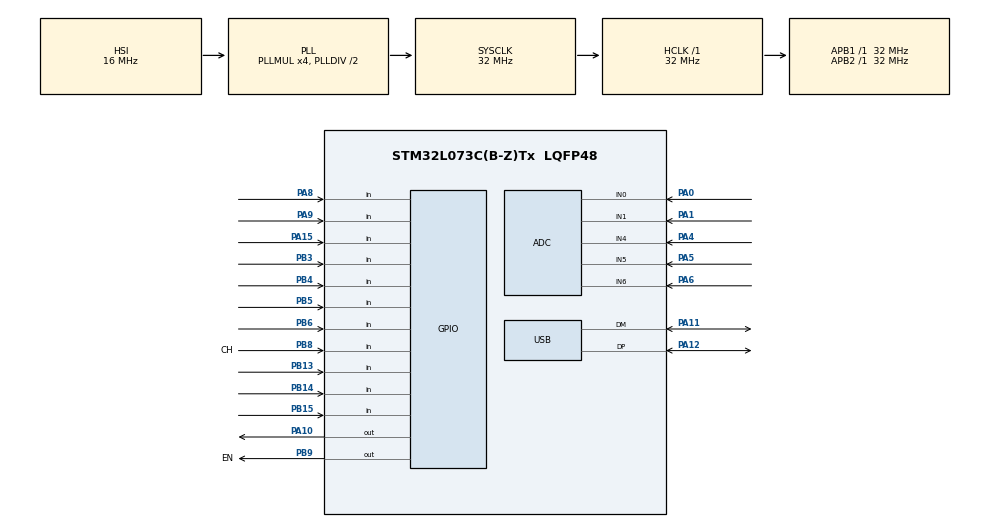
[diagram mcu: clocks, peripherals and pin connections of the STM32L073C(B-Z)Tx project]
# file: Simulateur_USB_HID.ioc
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ADC.ContinuousConvMode=ENABLE
Mcu.Family=STM32L0
Mcu.Name=STM32L073C(B-Z)Tx
Mcu.Package=LQFP48
NVIC.USB_IRQn=true\:0\:0\:false\:false\:true\:false\:true
PA0.Mode=IN0
PA0.Signal=ADC_IN0
PA1.Mode=IN1
PA1.Signal=ADC_IN1
PA10.Signal=GPIO_Output
PA11.Mode=Device
PA11.Signal=USB_DM
PA12.Mode=Device
PA12.Signal=USB_DP
PA13.Mode=Serial_Wire
PA13.Signal=SYS_SWDIO
PA14.Mode=Serial_Wire
PA14.Signal=SYS_SWCLK
PA15.GPIO_PuPd=GPIO_PULLUP
PA15.Signal=GPIO_Input
PA4.Mode=IN4
PA4.Signal=ADC_IN4
PA5.Mode=IN5
PA5.Signal=ADC_IN5
PA6.Mode=IN6
PA6.Signal=ADC_IN6
PA8.GPIO_PuPd=GPIO_PULLUP
PA8.Signal=GPIO_Input
PA9.GPIO_PuPd=GPIO_PULLUP
PA9.Signal=GPIO_Input
PB13.GPIO_PuPd=GPIO_PULLUP
PB13.Signal=GPIO_Input
PB14.GPIO_PuPd=GPIO_PULLUP
PB14.Signal=GPIO_Input
PB15.GPIO_PuPd=GPIO_PULLUP
PB15.Signal=GPIO_Input
PB3.GPIO_PuPd=GPIO_PULLUP
PB3.Signal=GPIO_Input
PB4.GPIO_PuPd=GPIO_PULLUP
PB4.Signal=GPIO_Input
PB5.GPIO_PuPd=GPIO_PULLUP
PB5.Signal=GPIO_Input
PB6.GPIO_PuPd=GPIO_PULLUP
PB6.Signal=GPIO_Input
PB8.GPIO_Label=CH
PB8.GPIO_PuPd=GPIO_PULLDOWN
PB8.Signal=GPIO_Input
PB9.GPIO_Label=EN
PB9.GPIO_PuPd=GPIO_PULLDOWN
PB9.Signal=GPIO_Output
ProjectManager.HeapSize=0x1000
ProjectManager.StackSize=0x400
ProjectManager.TargetToolchain=STM32CubeIDE
RCC.AHBFreq_Value=32000000
RCC.APB1Freq_Value=32000000
RCC.APB1TimFreq_Value=32000000
RCC.APB2Freq_Value=32000000
RCC.APB2TimFreq_Value=32000000
RCC.HCLKFreq_Value=32000000
RCC.HSE_VALUE=8000000
RCC.HSI16_VALUE=16000000
RCC.HSI48MClockSelection=RCC_USBCLKSOURCE_HSI48
RCC.HSI48_VALUE=48000000
RCC.HSI_VALUE=16000000
RCC.LSE_VALUE=32768
RCC.MSI_VALUE=2097000
RCC.PLLMUL=RCC_PLLMUL_4
RCC.SYSCLKFreq_VALUE=32000000
RCC.SYSCLKSource=RCC_SYSCLKSOURCE_PLLCLK
RCC.VCOOutputFreq_Value=64000000
USB_DEVICE.CLASS_NAME_FS=HID
USB_DEVICE.VirtualMode=Hid
USB_DEVICE.VirtualModeFS=Hid_FS
VP_USB_DEVICE_VS_USB_DEVICE_HID_FS.Mode=HID_FS
board=custom

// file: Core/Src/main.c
/* USER CODE BEGIN Header */
/**
  ******************************************************************************
  * @file           : main.c
  * @brief          : Main program body
  ******************************************************************************
  * @attention
  *
  * Copyright (c) 2022 STMicroelectronics.
  * All rights reserved.
  *
  * This software is licensed under terms that can be found in the LICENSE file
  * in the root directory of this software component.
  * If no LICENSE file comes with this software, it is provided AS-IS.
  *
  ******************************************************************************
  */
/* USER CODE END Header */
#include "main.h"
#include "usb_device.h"

/* USER CODE BEGIN Includes */
#include "usbd_hid.h"
/* USER CODE END Includes */

/* USER CODE BEGIN PTD */
typedef struct {
	uint8_t hat0;
	uint8_t hat1;
	uint8_t hat2;
	uint8_t key3;
	uint8_t but0;
	uint8_t but1;
	uint8_t but2;
	uint8_t but3;
	uint16_t x;
	uint16_t y;
	uint16_t z;
	uint16_t rx;
	uint16_t ry;
}pumaHID;

pumaHID pumahid;

/* USER CODE END PTD */

ADC_HandleTypeDef hadc;

/* USER CODE BEGIN PV */
extern USBD_HandleTypeDef hUsbDeviceFS;

GPIO_PinState BP_1;
GPIO_PinState BP_3;
GPIO_PinState hat_east;

GPIO_PinState hat_north;
GPIO_PinState hat_west;

GPIO_PinState BP_2;
GPIO_PinState BP_4;
GPIO_PinState hat_south;

GPIO_PinState BP_5;
GPIO_PinState BP_6;

GPIO_PinState CH;

uint32_t ADC_VAL[5];
/* USER CODE END PV */

void SystemClock_Config(void);
static void MX_GPIO_Init(void);
static void MX_ADC_Init(void);
/* USER CODE BEGIN PFP */
void envoi(void);
/* USER CODE END PFP */

int main(void)
{
  /* USER CODE BEGIN 1 */
	char msg[80];

	pumahid.hat0 = 0x00;
	pumahid.hat1 = 0x00;
	pumahid.hat2 = 0x00;
	pumahid.key3 = 0x00;
	pumahid.but0 = 0x00;
	pumahid.but1 = 0x00;
	pumahid.but2 = 0x00;
	pumahid.but3 = 0x00;
	pumahid.x = 0x0000;
	pumahid.y = 0x0000;
	pumahid.z = 0x0000;
	pumahid.rx = 0x0000;
	pumahid.ry = 0x0000;
  /* USER CODE END 1 */

  /* MCU Configuration--------------------------------------------------------*/

  /* Reset of all peripherals, Initializes the Flash interface and the Systick. */
  HAL_Init();

  /* Configure the system clock */
  SystemClock_Config();

  /* Initialize all configured peripherals */
  MX_GPIO_Init();
  MX_USB_DEVICE_Init();
  MX_ADC_Init();
  /* USER CODE BEGIN 2 */
  HAL_GPIO_WritePin(GPIOA, GPIO_PIN_10, GPIO_PIN_SET);
  HAL_GPIO_WritePin(GPIOB, GPIO_PIN_9, GPIO_PIN_RESET);
  /* USER CODE END 2 */

  /* Infinite loop */
  /* USER CODE BEGIN WHILE */
  while (1)
  {

	  /*HAL_ADC_Start(&hadc);
	  ADC_VAL[0] = HAL_ADC_GetValue(&hadc);
	  HAL_ADC_PollForConversion(&hadc, HAL_MAX_DELAY);
	  HAL_ADC_Stop(&hadc);

	  pumahid.x = ADC_VAL[0];

	  USBD_HID_SendReport(&hUsbDeviceFS, &pumahid, sizeof(pumahid));*/
    /* USER CODE END WHILE */

  }
}

void SystemClock_Config(void)
{
  RCC_OscInitTypeDef RCC_OscInitStruct = {0};
  RCC_ClkInitTypeDef RCC_ClkInitStruct = {0};
  RCC_PeriphCLKInitTypeDef PeriphClkInit = {0};

  /** Configure the main internal regulator output voltage
  */
  __HAL_PWR_VOLTAGESCALING_CONFIG(PWR_REGULATOR_VOLTAGE_SCALE1);
  /** Initializes the RCC Oscillators according to the specified parameters
  * in the RCC_OscInitTypeDef structure.
  */
  RCC_OscInitStruct.OscillatorType = RCC_OSCILLATORTYPE_HSI|RCC_OSCILLATORTYPE_HSI48;
  RCC_OscInitStruct.HSIState = RCC_HSI_ON;
  RCC_OscInitStruct.HSICalibrationValue = RCC_HSICALIBRATION_DEFAULT;
  RCC_OscInitStruct.HSI48State = RCC_HSI48_ON;
  RCC_OscInitStruct.PLL.PLLState = RCC_PLL_ON;
  RCC_OscInitStruct.PLL.PLLSource = RCC_PLLSOURCE_HSI;
  RCC_OscInitStruct.PLL.PLLMUL = RCC_PLLMUL_4;
  RCC_OscInitStruct.PLL.PLLDIV = RCC_PLLDIV_2;
  if (HAL_RCC_OscConfig(&RCC_OscInitStruct) != HAL_OK)
  {
    Error_Handler();
  }
  /** Initializes the CPU, AHB and APB buses clocks
  */
  RCC_ClkInitStruct.ClockType = RCC_CLOCKTYPE_HCLK|RCC_CLOCKTYPE_SYSCLK
                              |RCC_CLOCKTYPE_PCLK1|RCC_CLOCKTYPE_PCLK2;
  RCC_ClkInitStruct.SYSCLKSource = RCC_SYSCLKSOURCE_PLLCLK;
  RCC_ClkInitStruct.AHBCLKDivider = RCC_SYSCLK_DIV1;
  RCC_ClkInitStruct.APB1CLKDivider = RCC_HCLK_DIV1;
  RCC_ClkInitStruct.APB2CLKDivider = RCC_HCLK_DIV1;

  if (HAL_RCC_ClockConfig(&RCC_ClkInitStruct, FLASH_LATENCY_1) != HAL_OK)
  {
    Error_Handler();
  }
  PeriphClkInit.PeriphClockSelection = RCC_PERIPHCLK_USB;
  PeriphClkInit.UsbClockSelection = RCC_USBCLKSOURCE_HSI48;
  if (HAL_RCCEx_PeriphCLKConfig(&PeriphClkInit) != HAL_OK)
  {
    Error_Handler();
  }
}

static void MX_ADC_Init(void)
{

  ADC_ChannelConfTypeDef sConfig = {0};

  /** Configure the global features of the ADC (Clock, Resolution, Data Alignment and number of conversion)
  */
  hadc.Instance = ADC1;
  hadc.Init.OversamplingMode = DISABLE;
  hadc.Init.ClockPrescaler = ADC_CLOCK_SYNC_PCLK_DIV2;
  hadc.Init.Resolution = ADC_RESOLUTION_12B;
  hadc.Init.SamplingTime = ADC_SAMPLETIME_1CYCLE_5;
  hadc.Init.ScanConvMode = ADC_SCAN_DIRECTION_FORWARD;
  hadc.Init.DataAlign = ADC_DATAALIGN_RIGHT;
  hadc.Init.ContinuousConvMode = ENABLE;
  hadc.Init.DiscontinuousConvMode = DISABLE;
  hadc.Init.ExternalTrigConvEdge = ADC_EXTERNALTRIGCONVEDGE_NONE;
  hadc.Init.ExternalTrigConv = ADC_SOFTWARE_START;
  hadc.Init.DMAContinuousRequests = DISABLE;
  hadc.Init.EOCSelection = ADC_EOC_SINGLE_CONV;
  hadc.Init.Overrun = ADC_OVR_DATA_PRESERVED;
  hadc.Init.LowPowerAutoWait = DISABLE;
  hadc.Init.LowPowerFrequencyMode = DISABLE;
  hadc.Init.LowPowerAutoPowerOff = DISABLE;
  if (HAL_ADC_Init(&hadc) != HAL_OK)
  {
    Error_Handler();
  }
  /** Configure for the selected ADC regular channel to be converted.
  */
  sConfig.Channel = ADC_CHANNEL_0;
  sConfig.Rank = ADC_RANK_CHANNEL_NUMBER;
  if (HAL_ADC_ConfigChannel(&hadc, &sConfig) != HAL_OK)
  {
    Error_Handler();
  }
  /** Configure for the selected ADC regular channel to be converted.
  */
  sConfig.Channel = ADC_CHANNEL_1;
  if (HAL_ADC_ConfigChannel(&hadc, &sConfig) != HAL_OK)
  {
    Error_Handler();
  }
  /** Configure for the selected ADC regular channel to be converted.
  */
  sConfig.Channel = ADC_CHANNEL_4;
  if (HAL_ADC_ConfigChannel(&hadc, &sConfig) != HAL_OK)
  {
    Error_Handler();
  }
  /** Configure for the selected ADC regular channel to be converted.
  */
  sConfig.Channel = ADC_CHANNEL_5;
  if (HAL_ADC_ConfigChannel(&hadc, &sConfig) != HAL_OK)
  {
    Error_Handler();
  }
  /** Configure for the selected ADC regular channel to be converted.
  */
  sConfig.Channel = ADC_CHANNEL_6;
  if (HAL_ADC_ConfigChannel(&hadc, &sConfig) != HAL_OK)
  {
    Error_Handler();
  }

}

static void MX_GPIO_Init(void)
{
  GPIO_InitTypeDef GPIO_InitStruct = {0};

  /* GPIO Ports Clock Enable */
  __HAL_RCC_GPIOA_CLK_ENABLE();
  __HAL_RCC_GPIOB_CLK_ENABLE();

  /*Configure GPIO pin Output Level */
  HAL_GPIO_WritePin(GPIOA, GPIO_PIN_10, GPIO_PIN_RESET);

  /*Configure GPIO pin Output Level */
  HAL_GPIO_WritePin(EN_GPIO_Port, EN_Pin, GPIO_PIN_RESET);

  /*Configure GPIO pins : PB13 PB14 PB15 PB3
                           PB4 PB5 PB6 */
  GPIO_InitStruct.Pin = GPIO_PIN_13|GPIO_PIN_14|GPIO_PIN_15|GPIO_PIN_3
                          |GPIO_PIN_4|GPIO_PIN_5|GPIO_PIN_6;
  GPIO_InitStruct.Mode = GPIO_MODE_INPUT;
  GPIO_InitStruct.Pull = GPIO_PULLUP;
  HAL_GPIO_Init(GPIOB, &GPIO_InitStruct);

  /*Configure GPIO pins : PA8 PA9 PA15 */
  GPIO_InitStruct.Pin = GPIO_PIN_8|GPIO_PIN_9|GPIO_PIN_15;
  GPIO_InitStruct.Mode = GPIO_MODE_INPUT;
  GPIO_InitStruct.Pull = GPIO_PULLUP;
  HAL_GPIO_Init(GPIOA, &GPIO_InitStruct);

  /*Configure GPIO pin : PA10 */
  GPIO_InitStruct.Pin = GPIO_PIN_10;
  GPIO_InitStruct.Mode = GPIO_MODE_OUTPUT_PP;
  GPIO_InitStruct.Pull = GPIO_NOPULL;
  GPIO_InitStruct.Speed = GPIO_SPEED_FREQ_LOW;
  HAL_GPIO_Init(GPIOA, &GPIO_InitStruct);

  /*Configure GPIO pin : CH_Pin */
  GPIO_InitStruct.Pin = CH_Pin;
  GPIO_InitStruct.Mode = GPIO_MODE_INPUT;
  GPIO_InitStruct.Pull = GPIO_PULLDOWN;
  HAL_GPIO_Init(CH_GPIO_Port, &GPIO_InitStruct);

  /*Configure GPIO pin : EN_Pin */
  GPIO_InitStruct.Pin = EN_Pin;
  GPIO_InitStruct.Mode = GPIO_MODE_OUTPUT_PP;
  GPIO_InitStruct.Pull = GPIO_PULLDOWN;
  GPIO_InitStruct.Speed = GPIO_SPEED_FREQ_LOW;
  HAL_GPIO_Init(EN_GPIO_Port, &GPIO_InitStruct);

}

/* USER CODE BEGIN 4 */
void envoi(void)
{
	HAL_ADC_Start(&hadc);
	ADC_VAL[0] = HAL_ADC_GetValue(&hadc);
	HAL_ADC_PollForConversion(&hadc, HAL_MAX_DELAY);
	HAL_ADC_Stop(&hadc);

	pumahid.x = ADC_VAL[0];

	USBD_HID_SendReport(&hUsbDeviceFS, &pumahid, sizeof(pumahid));
}
/* USER CODE END 4 */

void Error_Handler(void)
{
  __disable_irq();
  while (1)
  {
  }
}
